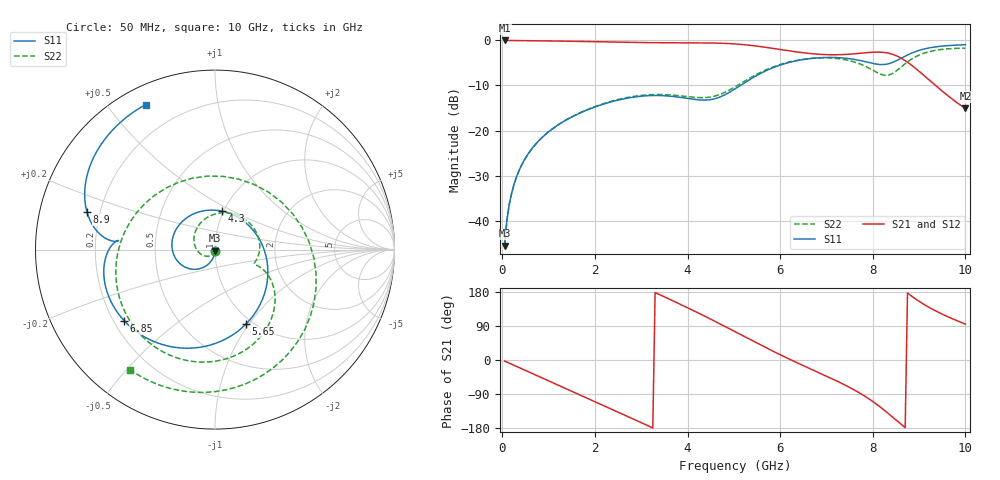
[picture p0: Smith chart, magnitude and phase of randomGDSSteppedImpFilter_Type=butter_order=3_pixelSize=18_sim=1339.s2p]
! freq	dB(S11)	phase(S11)	dB(S12)	phase(S12)
!  dB(S21)	phase(S21)	dB(S22)	phase(S22)
!S-par simulation data
#  GHz  S  DB  R 50
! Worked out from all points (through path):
!   200 points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, 50 MHz to 10 GHz, reference 50 ohm
!   highest |S21| = -0.01 dB at 50 MHz (marker M1); lowest = -15.1 dB at 10 GHz (marker M2)
!   group delay of S21, straight-line fit = 173 ps
!   lowest |S11| = -45.6 dB at 50 MHz (marker M3), VSWR 1.01, Z = 50 - j0.525 ohm
!   |S11| at or under -10 dB: start of sweep to 5.141 GHz
!   |S22| runs from -45.7 to -1.7 dB; largest |S21 - S12| = 0
!   S11 on the Smith chart (normalised r, x): 50 MHz: 1.00, -0.01; 4.3 GHz: 0.99, +0.44; 5.65 GHz: 0.93, -0.97; 6.85 GHz: 0.24, -0.33; 8.9 GHz: 0.15, +0.14; 10 GHz: 0.08, +0.63
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0.05  -45.59 -88.1  -0.01 -2.8  -0.01 -2.8  -45.68 -91.4
0.1  -39.84 -90.8  -0.01 -5.6  -0.01 -5.6  -39.90 -96.7
0.2  -33.96 -94.6  -0.02 -11.1  -0.02 -11.1  -34.02 -106.4
0.5  -26.12 -103.3  -0.05 -27.6  -0.05 -27.6  -26.17 -132.6
1.15  -19.14 -120.8  -0.13 -63.3  -0.13 -63.3  -19.13 172.3
1.75  -15.79 -137.4  -0.23 -96.3  -0.23 -96.3  -15.72 123.0
2.65  -12.91 -168.5  -0.41 -145.9  -0.41 -145.9  -12.77 55.4
3.4  -12.23 154.4  -0.52 172.3  -0.52 172.3  -12.01 9.8
4.3  -13.24 79.2  -0.54 120.0  -0.54 120.0  -12.71 -19.3
5.05  -10.60 -11.7  -0.80 73.2  -0.80 73.2  -10.16 -24.1
5.65  -6.95 -67.3  -1.47 35.2  -1.47 35.2  -6.73 -44.0
6.15  -5.01 -102.6  -2.25 5.1  -2.25 5.1  -4.90 -68.3
6.7  -3.96 -134.2  -2.96 -25.9  -2.96 -25.9  -3.97 -98.3
6.85  -3.84 -141.9  -3.08 -34.2  -3.08 -34.2  -3.89 -107.1
7.3  -3.85 -162.7  -3.16 -60.0  -3.16 -60.0  -4.11 -136.9
7.75  -4.51 -179.3  -2.83 -89.6  -2.83 -89.6  -5.33 -178.3
8.05  -5.20 175.0  -2.59 -113.9  -2.59 -113.9  -6.89 137.8
8.35  -5.15 175.2  -2.86 -142.7  -2.86 -142.7  -7.65 71.5
8.65  -3.75 172.2  -4.16 -173.4  -4.16 -173.4  -5.59 4.7
8.9  -2.57 163.5  -6.00 163.2  -6.00 163.2  -3.77 -34.9
9.4  -1.37 141.2  -10.39 126.9  -10.39 126.9  -2.11 -85.7
10  -0.96 115.6  -15.10 94.6  -15.10 94.6  -1.73 -125.3
